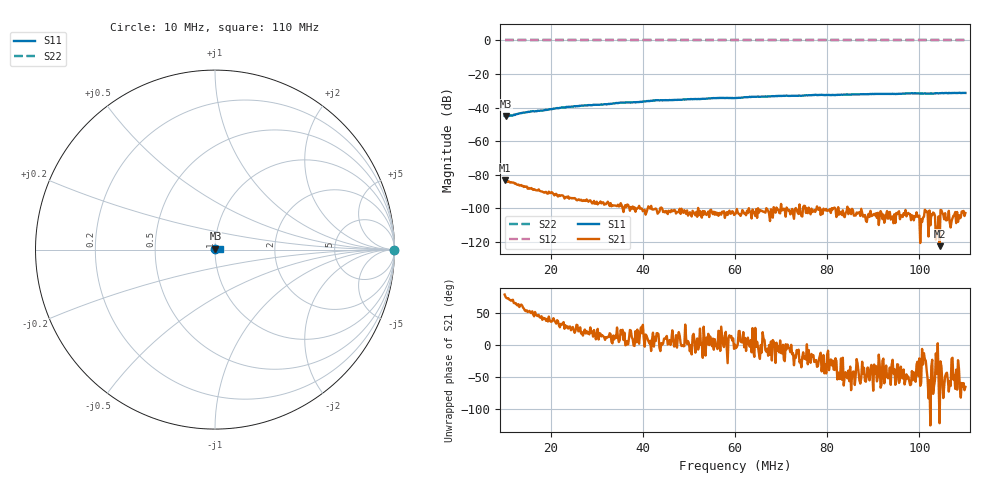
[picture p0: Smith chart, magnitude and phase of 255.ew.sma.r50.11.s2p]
! Anritsu VNA Master:  Model: MS2036C/10/77
! SN:  1601066
! /card0/usr/255.ew.sma.r50.11.s2p
! Existing Calibration Information:
! TYPE:  Current Settings,  Active Cal Settings
! TIME:  12/19/2017 06:08:15 PM,  12/19/2017 06:04:41 PM
! INTERNAL TEMP:  40.3 C,  39.8 C
! # POINTS:  501,  501
! START FREQ:  10.000 MHz,  10.000 MHz
! STOP FREQ:  110.000 MHz,  110.000 MHz
! SOURCE POWER:  High,  High
! IFBW:  100 Hz,  100 Hz
! AVG FACTOR:  1 ,  1
! REF PLANE 1:  0 mm,  0 mm
! REF PLANE 2:  0 mm,  0 mm
! CAL TYPE:  Full S11,  Full S11
! CAL METHOD:  SOLT,  SOLT
! CAL LINE TYPE:  Coax,  Coax
! DUT PORT 1:  N-Conn(F),  N-Conn(F)
! DUT PORT 2:  K-Conn(F),  K-Conn(F)
! CAL STATUS:  OK: Accuracy High,  --
# GHZ S DB R 50.0
! FREQ.GHZ  S11DB  S11A  S21DB  S21A  S12DB  S12A  S22DB  S22A
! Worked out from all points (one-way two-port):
!   501 points, 10 MHz to 110 MHz, reference 50 ohm
!   highest |S21| = -83.17 dB at 10 MHz (marker M1); lowest = -122.5 dB at 104.4 MHz (marker M2)
!   lowest |S11| = -45.3 dB at 10.2 MHz (marker M3), VSWR 1.01, Z = 50.2 + j0.503 ohm
!   |S11| at or under -10 dB: start of sweep to end of sweep
!   |S22| runs from 0.0 to 0.0 dB; largest |S21 - S12| = 1
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0.01  -44.94 67.8  -83.17 79.4  0.00 0.0  0.00 0.0
0.0102  -45.29 67.1  -83.17 76.0  0.00 0.0  0.00 0.0
0.0118  -44.60 67.5  -84.62 71.2  0.00 0.0  0.00 0.0
0.0136  -43.30 63.8  -86.10 63.7  0.00 0.0  0.00 0.0
0.0158  -42.27 62.7  -87.89 50.4  0.00 0.0  0.00 0.0
0.018  -41.77 61.0  -89.91 45.5  0.00 0.0  0.00 0.0
0.0224  -39.90 57.7  -92.20 32.2  0.00 0.0  0.00 0.0
0.0268  -38.75 55.3  -95.52 20.2  0.00 0.0  0.00 0.0
0.0324  -37.95 52.1  -96.02 13.4  0.00 0.0  0.00 0.0
0.0352  -37.00 50.0  -96.90 24.0  0.00 0.0  0.00 0.0
0.0388  -36.71 47.5  -100.03 24.5  0.00 0.0  0.00 0.0
0.0434  -35.62 47.2  -102.55 17.3  0.00 0.0  0.00 0.0
0.0522  -34.89 41.0  -104.03 0.0  0.00 0.0  0.00 0.0
0.0564  -34.21 38.6  -104.46 22.7  0.00 0.0  0.00 0.0
0.06  -34.29 36.1  -103.59 1.2  0.00 0.0  0.00 0.0
0.064  -33.55 32.3  -102.09 -10.4  0.00 0.0  0.00 0.0
0.0768  -32.53 24.2  -102.19 -17.4  0.00 0.0  0.00 0.0
0.0934  -31.80 14.9  -102.56 -51.1  0.00 0.0  0.00 0.0
0.098  -31.53 10.8  -103.38 -62.2  0.00 0.0  0.00 0.0
0.1022  -31.67 9.1  -101.29 -54.5  0.00 0.0  0.00 0.0
0.1044  -31.45 4.9  -122.52 -121.8  0.00 0.0  0.00 0.0
0.11  -31.25 2.9  -102.76 -65.0  0.00 0.0  0.00 0.0
